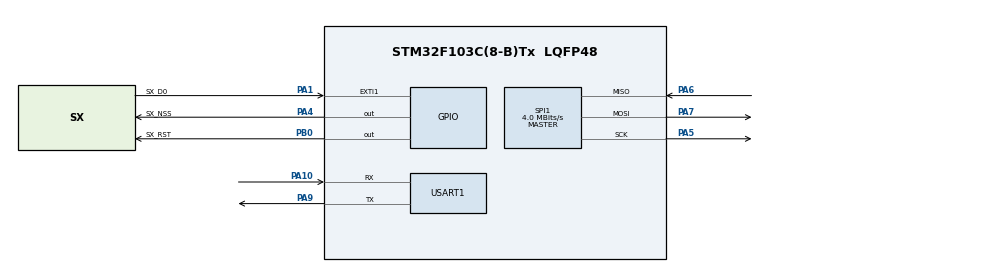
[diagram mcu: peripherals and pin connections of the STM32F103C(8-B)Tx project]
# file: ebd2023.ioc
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FREERTOS.Tasks01=defaultTask,24,128,StartDefaultTask,Default,NULL,Dynamic,NULL,NULL
Mcu.Family=STM32F1
Mcu.Name=STM32F103C(8-B)Tx
Mcu.Package=LQFP48
NVIC.PriorityGroup=NVIC_PRIORITYGROUP_4
NVIC.USART1_IRQn=true\:5\:0\:false\:false\:true\:true\:true\:true\:true
PA1.GPIO_Label=SX_D0
PA1.GPIO_PuPd=GPIO_PULLUP
PA1.Signal=GPXTI1
PA10.Mode=Asynchronous
PA10.Signal=USART1_RX
PA13.Mode=Serial_Wire
PA13.Signal=SYS_JTMS-SWDIO
PA14.Mode=Serial_Wire
PA14.Signal=SYS_JTCK-SWCLK
PA4.GPIO_Label=SX_NSS
PA4.Signal=GPIO_Output
PA5.Mode=Full_Duplex_Master
PA5.Signal=SPI1_SCK
PA6.Mode=Full_Duplex_Master
PA6.Signal=SPI1_MISO
PA7.Mode=Full_Duplex_Master
PA7.Signal=SPI1_MOSI
PA9.Mode=Asynchronous
PA9.Signal=USART1_TX
PB0.GPIO_Label=SX_RST
PB0.Signal=GPIO_Output
ProjectManager.HeapSize=0x200
ProjectManager.StackSize=0x400
ProjectManager.TargetToolchain=STM32CubeIDE
RCC.APB1Freq_Value=8000000
RCC.APB2Freq_Value=8000000
SPI1.CalculateBaudRate=4.0 MBits/s
SPI1.Direction=SPI_DIRECTION_2LINES
SPI1.Mode=SPI_MODE_MASTER
SPI1.VirtualType=VM_MASTER
USART1.VirtualMode=VM_ASYNC
VP_FREERTOS_VS_CMSIS_V2.Mode=CMSIS_V2
board=custom

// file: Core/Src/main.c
/* USER CODE BEGIN Header */
/**
  ******************************************************************************
  * @file           : main.c
  * @brief          : Main program body
  ******************************************************************************
  * @attention
  *
  * Copyright (c) 2023 STMicroelectronics.
  * All rights reserved.
  *
  * This software is licensed under terms that can be found in the LICENSE file
  * in the root directory of this software component.
  * If no LICENSE file comes with this software, it is provided AS-IS.
  *
  ******************************************************************************
  */
/* USER CODE END Header */
#include "main.h"
#include "cmsis_os.h"
#include "spi.h"
#include "usart.h"
#include "gpio.h"

void SystemClock_Config(void);
void MX_FREERTOS_Init(void);

int main(void)
{

  /* MCU Configuration--------------------------------------------------------*/

  /* Reset of all peripherals, Initializes the Flash interface and the Systick. */
  HAL_Init();

  /* Configure the system clock */
  SystemClock_Config();

  /* Initialize all configured peripherals */
  MX_GPIO_Init();
  MX_SPI1_Init();
  MX_USART1_UART_Init();
  /* USER CODE BEGIN 2 */
  log("initialize the SX1278");
  SX_init();
  /* USER CODE END 2 */

  /* Init scheduler */
  osKernelInitialize();  /* Call init function for freertos objects (in freertos.c) */
  MX_FREERTOS_Init();

  /* Start scheduler */
  osKernelStart();

  /* We should never get here as control is now taken by the scheduler */
  /* Infinite loop */
  while (1)
  {

  }
}

void SystemClock_Config(void)
{
  RCC_OscInitTypeDef RCC_OscInitStruct = {0};
  RCC_ClkInitTypeDef RCC_ClkInitStruct = {0};

  /** Initializes the RCC Oscillators according to the specified parameters
  * in the RCC_OscInitTypeDef structure.
  */
  RCC_OscInitStruct.OscillatorType = RCC_OSCILLATORTYPE_HSI;
  RCC_OscInitStruct.HSIState = RCC_HSI_ON;
  RCC_OscInitStruct.HSICalibrationValue = RCC_HSICALIBRATION_DEFAULT;
  RCC_OscInitStruct.PLL.PLLState = RCC_PLL_NONE;
  if (HAL_RCC_OscConfig(&RCC_OscInitStruct) != HAL_OK)
  {
    Error_Handler();
  }

  /** Initializes the CPU, AHB and APB buses clocks
  */
  RCC_ClkInitStruct.ClockType = RCC_CLOCKTYPE_HCLK|RCC_CLOCKTYPE_SYSCLK
                              |RCC_CLOCKTYPE_PCLK1|RCC_CLOCKTYPE_PCLK2;
  RCC_ClkInitStruct.SYSCLKSource = RCC_SYSCLKSOURCE_HSI;
  RCC_ClkInitStruct.AHBCLKDivider = RCC_SYSCLK_DIV1;
  RCC_ClkInitStruct.APB1CLKDivider = RCC_HCLK_DIV1;
  RCC_ClkInitStruct.APB2CLKDivider = RCC_HCLK_DIV1;

  if (HAL_RCC_ClockConfig(&RCC_ClkInitStruct, FLASH_LATENCY_0) != HAL_OK)
  {
    Error_Handler();
  }
}

void Error_Handler(void)
{
  __disable_irq();
  while (1)
  {
  }
}

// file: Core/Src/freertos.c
/* USER CODE BEGIN Header */
/**
 ******************************************************************************
 * File Name          : freertos.c
 * Description        : Code for freertos applications
 ******************************************************************************
 * @attention
 *
 * Copyright (c) 2023 STMicroelectronics.
 * All rights reserved.
 *
 * This software is licensed under terms that can be found in the LICENSE file
 * in the root directory of this software component.
 * If no LICENSE file comes with this software, it is provided AS-IS.
 *
 ******************************************************************************
 */
/* USER CODE END Header */

#include "FreeRTOS.h"
#include "task.h"
#include "main.h"
#include "cmsis_os.h"

/* USER CODE BEGIN Includes */
#include "SXFunc.h"
// #include "tim.h"
#include "usart.h"
#include "semphr.h"
#include <stdio.h>
#include <stdlib.h>
#include <time.h>
#include <dht.h>
/* USER CODE END Includes */

/* USER CODE BEGIN PD */
#define NODE_NUM 10
/* USER CODE END PD */

/* USER CODE BEGIN Variables */
uint8_t message_buf[256];
uint8_t message_flag;

// two flag for sender to know if a ack arrived
uint8_t wait_flag, got_ack;

// define an array to store each node's data
uint8_t* data_of_nodes[NODE_NUM];

TaskHandle_t handle_receiver, handle_sender, handle_generator, handle_router;

SemaphoreHandle_t SX1278_sem = NULL;
SemaphoreHandle_t message_sem = NULL;

/* USER CODE END Variables */
/* Definitions for defaultTask */
osThreadId_t defaultTaskHandle;
const osThreadAttr_t defaultTask_attributes = {
    .name = "defaultTask",
    .stack_size = 128 * 4,
    .priority = (osPriority_t)osPriorityNormal,
};

/* USER CODE BEGIN FunctionPrototypes */
void mytask_receiver(void *argument);
void mytask_sender(void *argument);
void mytask_generator(void *argument);
void mytask_router(void *argument);

/* USER CODE END FunctionPrototypes */

void StartDefaultTask(void *argument);

void MX_FREERTOS_Init(void); /* (MISRA C 2004 rule 8.1) */

void MX_FREERTOS_Init(void)
{
    /* USER CODE BEGIN Init */
    srand(time(NULL));
    /* USER CODE END Init */

    /* USER CODE BEGIN RTOS_SEMAPHORES */
    /* add semaphores, ... */
    SX1278_sem = xSemaphoreCreateMutex();
    message_sem = xSemaphoreCreateMutex();
    /* USER CODE END RTOS_SEMAPHORES */

    /* Create the thread(s) */
    /* creation of defaultTask */
    defaultTaskHandle = osThreadNew(StartDefaultTask, NULL,
                                    &defaultTask_attributes);

    /* USER CODE BEGIN RTOS_THREADS */
    long ret = 0;

    ret = xTaskCreate((TaskFunction_t)mytask_sender,
                      (const char *)"thread_sender", (uint16_t)256, (void *)NULL,
                      (UBaseType_t)2, (TaskHandle_t *)&handle_sender);
    log("ret after create sender %d", ret);

    ret = xTaskCreate((TaskFunction_t)mytask_receiver,
                      (const char *)"thread_receiver", (uint16_t)256, (void *)NULL,
                      (UBaseType_t)1, (TaskHandle_t *)&handle_receiver);
    log("ret after create recver %d", ret);

    ret = xTaskCreate((TaskFunction_t)mytask_generator,
                      (const char *)"thread_gen", (uint16_t)256, (void *)NULL,
                      (UBaseType_t)2, (TaskHandle_t *)&handle_generator);
    log("ret after create gen %d", ret);
    ret = xTaskCreate((TaskFunction_t)mytask_router,
                      (const char *)"thread_router", (uint16_t)256, (void *)NULL,
                      (UBaseType_t)2, (TaskHandle_t *)&handle_router);
    log("ret after create router %d", ret);
    /* add threads, ... */
    /* USER CODE END RTOS_THREADS */

}

void StartDefaultTask(void *argument)
{
    for (;;)
    {
        osDelay(1);
    }
}

/* USER CODE BEGIN Application */
void mytask_receiver(void *argument)
{
    // 接收器初始化
    log("receiver initialize");

    // 初始化任务的上次唤醒时间和所需的频率
	TickType_t xLastWakeTime;
	const TickType_t xFrequency = 100;

	// 初始化 xLastWakeTime 为当前的时钟计数
	xLastWakeTime = xTaskGetTickCount();

    for (;;)
    {
        // wait for next period
        vTaskDelayUntil(&xLastWakeTime, xFrequency);

        // 获取信号量以访问共享资源
        xSemaphoreTake(SX1278_sem, portMAX_DELAY);
//		log("receive once");

        // 接收一个数据包
		SX_packet *pac2 = (SX_packet *)buffer2;
		int received = SX_recv_once(pac2);

		// 检查是否接收到有效的数据包
		if (received && SX_check_CRC(pac2))
		{
			// NOT SURE this else if is correct or not ----zzh
			// 检查是否为等待标志位为真、目的地为 MESH_ADDR_LOCAL，且类型为 TYPE_ACK 的确认数据包
			if (wait_flag && SX_check_dst(pac2, MESH_ADDR_LOCAL) && SX_check_type(pac2, (uint8_t)TYPE_ACK))
			{
				wait_flag = 0;
				got_ack = 1;
			}
			// 检查是否为类型为 TYPE_SOH 且目的地为 MESH_ADDR_LOCAL 的数据包
			else if (SX_check_type(pac2, (uint8_t)TYPE_SOH) && SX_check_dst(pac2, MESH_ADDR_LOCAL))
			{
				if (MESH_ADDR_LOCAL != 1) printf("[receiver] successfully received a packet.\r\n");
				SX_print(pac2);

				//----------------新增部分---------------------------
				// 存储节点信息
				data_of_nodes[pac2->src] = pac2->content;
				printf("[receiver] node No.%d modified.\r\n", (int)pac2->src);
				//--------------------------------------------------

				// 生成一个确认数据包
				SX_packet *pac = (SX_packet *)buffer;
				SX_generate_packet(pac, TYPE_ACK, NULL, pac2->dst, pac2->src, 0, 0);

				// send the packet
				SX_send(pac);
			}
			// 检查是否为类型为 TYPE_INFO 的路由信息数据包
			else if (SX_check_type(pac2, (uint8_t)TYPE_INFO))
			{
				if (MESH_ADDR_LOCAL != 1) printf("[receiver] successfully received a route info\r\n");
				SX_print(pac2);

				// 更新路由表
				int i = 0;
				for (i = 0; i < 16; i++)
				{
					if (pac2->content[i] != 255)
					{
						if (SX_route_table[i] == 255)
						{
							SX_route_table[i] = pac2->last_hop;
						}
					}
				}
			}
			// 检查是否为下一跳数据包
			else if (SX_check_nexthop(pac2, MESH_ADDR_LOCAL))
			{
				pac2->next_hop = SX_route_table[pac2->dst];
				pac2->last_hop = MESH_ADDR_LOCAL;
				CRC_BYTE(pac2) = CRC8((uint8_t *)pac2, pac2->length - 1);
				SX_send(pac2);
				if (MESH_ADDR_LOCAL != 1) printf("[receiver] successfully transfer a packet\r\n");
			}
//			else {
//				printf(
//						"[receiver] successfully received a packet and will be ignored\r\n");
//				SX_print(pac2);
//			}
		}
		xSemaphoreGive(SX1278_sem);
    }
}

void mytask_sender(void *argument)
{
    log("sender initialize");
    SX_packet *pac = (SX_packet *)buffer;
    SX_packet *pac2 = (SX_packet *)buffer2;
    static uint8_t retry_flag = 0, retry_cnt;
    static uint32_t retry_time;

    for (;;)
    {
        if (retry_flag)
        { // if now we are re-sending a message
            vTaskDelay(retry_time);
        }
        else
        { // just send a new message
            // wait for Notify
            ulTaskNotifyTake(pdTRUE, portMAX_DELAY);
        }

        xSemaphoreTake(SX1278_sem, portMAX_DELAY);
        {
            // use the resource "message buffer"
            xSemaphoreTake(message_sem, portMAX_DELAY);
            {
                if (message_flag == 0)
                {
                    // if the message is empty
                    // loop
                    xSemaphoreGive(message_sem);
                    xSemaphoreGive(SX1278_sem);
                    continue;
                }
                // generate the packet
                SX_generate_packet(pac, TYPE_SOH, (char *)message_buf,
                                   MESH_ADDR_LOCAL, message_dst, 0, SX_route_table[message_dst]);
                //				message_dst, 0, 1);
                // send the packet
                SX_send(pac);
                // print information
                if (MESH_ADDR_LOCAL != 1) printf("[sender] successfully sent a packet\r\n");
                SX_print(pac);
                // give the semaphore
                xSemaphoreGive(message_sem);
            }

            // set flags
            wait_flag = 1;
            got_ack = 0;
        }
        xSemaphoreGive(SX1278_sem);
        // wait 2s for a ack
        vTaskDelay(2000);

        if (got_ack)
        {
            retry_flag = 0;
            retry_cnt = 0;

            xSemaphoreTake(message_sem, portMAX_DELAY);
            {
                message_flag = 0;
                xSemaphoreGive(message_sem);
            }

            if (MESH_ADDR_LOCAL != 1) printf("[sender]get ack, success!\r\n");
        }
        else
        {
            retry_flag = 1;
            retry_cnt++;
            retry_time = (rand() % (1 << retry_cnt)) * 100;
            log("wait %d then resend", retry_time);
            if (MESH_ADDR_LOCAL != 1) printf("[sender]get no ack, wait %d then resend\r\n", retry_time);
            if (retry_cnt > 5)
            {
                // send failed, give up
                xSemaphoreTake(message_sem, portMAX_DELAY);
                {
                    message_flag = 0;
                    xSemaphoreGive(message_sem);
                }
                retry_flag = 0;
                retry_cnt = 0;
            }
        }
    }
}

void mytask_generator(void *argument)
{
	if (MESH_ADDR_LOCAL == 1) {
		for (;;) {
			printf("%d\n", dictionarySize);
			for (int i = 0; i < dictionarySize; i++) {
				printf("%d %d %d %d %d\n", NODE(i), H(i), T(i), LOCX(i), LOCY(i));
			}
			sleep(5);
		}
	}
	else {
		uint32_t wait_time = 0;
		wait_time = (rand() % 7 + 3) * 1000;
		int seq = 0;

		TickType_t xLastWakeTime;

		xLastWakeTime = xTaskGetTickCount();
		for (;;)
		{
			log("in generator()");
			vTaskDelayUntil(&xLastWakeTime, wait_time);
			xSemaphoreTake(message_sem, portMAX_DELAY);
			{
				if (message_flag == 0)
				{
					// fill the message buffer
					//  sprintf((char*) message_buf, "Hello M3! seq:%d", seq);
					DHT_ReadData(message_buf); // 从 DHT 读取数据
					message_dst = MESH_ADDR_REMOTE;
					message_flag = 1;
					seq++;
				}
				log("message generated!");
				xSemaphoreGive(message_sem);
				wait_time = (rand() % 7 + 3) * 1000;
				xTaskNotifyGive(handle_sender);
			}
		}
	}
}

void mytask_router(void *argument)
{

    uint32_t wait_time = 0;
    wait_time = (rand() % 10) * 50 + 10000;
    int seq = 0;

    TickType_t xLastWakeTime;

    xLastWakeTime = xTaskGetTickCount();
    for (;;)
    {
        vTaskDelayUntil(&xLastWakeTime, wait_time);
        log("in router()");
        xSemaphoreTake(SX1278_sem, portMAX_DELAY);
        {
            SX_packet *pac = (SX_packet *)buffer;
            SX_generate_packet(pac, TYPE_INFO, NULL,
                               MESH_ADDR_LOCAL, 255, 0, 255);
            SX_send(pac);
            xSemaphoreGive(SX1278_sem);
            wait_time = (rand() % 10) * 50 + 10000;
        }
    }
}
/* USER CODE END Application */
